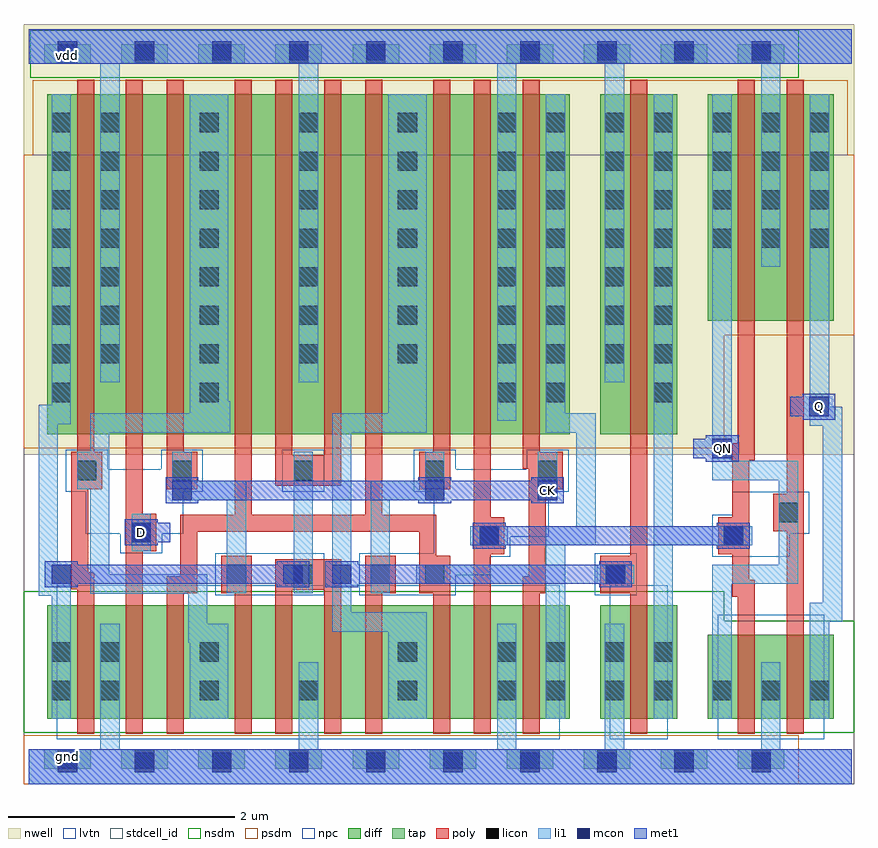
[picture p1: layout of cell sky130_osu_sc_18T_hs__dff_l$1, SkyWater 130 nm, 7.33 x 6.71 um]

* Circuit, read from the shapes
.subckt sky130_osu_sc_18T_hs__dff_l$1 CK D Q QN gnd vdd
XM1 gnd n1 n2 gnd sky130_fd_pr__nfet_01v8_lvt w=1 l=0.15
XM2 n3 D gnd gnd sky130_fd_pr__nfet_01v8_lvt w=1 l=0.15
XM3 n1 n4 n3 gnd sky130_fd_pr__nfet_01v8_lvt w=1 l=0.15
XM4 n5 CK n1 gnd sky130_fd_pr__nfet_01v8_lvt w=1 l=0.15
XM5 gnd n2 n5 gnd sky130_fd_pr__nfet_01v8_lvt w=1 l=0.15
XM6 n6 n2 gnd gnd sky130_fd_pr__nfet_01v8_lvt w=1 l=0.15
XM7 n7 CK n6 gnd sky130_fd_pr__nfet_01v8_lvt w=1 l=0.15
XM8 n8 n4 n7 gnd sky130_fd_pr__nfet_01v8_lvt w=1 l=0.15
XM9 gnd n9 n8 gnd sky130_fd_pr__nfet_01v8_lvt w=1 l=0.15
XM10 n4 CK gnd gnd sky130_fd_pr__nfet_01v8_lvt w=1 l=0.15
XM11 n9 n7 gnd gnd sky130_fd_pr__nfet_01v8_lvt w=1 l=0.15
XM12 gnd n9 QN gnd sky130_fd_pr__nfet_01v8_lvt w=0.74 l=0.15
XM13 Q QN gnd gnd sky130_fd_pr__nfet_01v8_lvt w=0.74 l=0.15
XM14 vdd n1 n2 vdd sky130_fd_pr__pfet_01v8 w=3 l=0.15
XM15 n10 D vdd vdd sky130_fd_pr__pfet_01v8 w=3 l=0.15
XM16 n1 CK n10 vdd sky130_fd_pr__pfet_01v8 w=3 l=0.15
XM17 n11 n4 n1 vdd sky130_fd_pr__pfet_01v8 w=3 l=0.15
XM18 vdd n2 n11 vdd sky130_fd_pr__pfet_01v8 w=3 l=0.15
XM19 n12 n2 vdd vdd sky130_fd_pr__pfet_01v8 w=3 l=0.15
XM20 n7 n4 n12 vdd sky130_fd_pr__pfet_01v8 w=3 l=0.15
XM21 n13 CK n7 vdd sky130_fd_pr__pfet_01v8 w=3 l=0.15
XM22 vdd n9 n13 vdd sky130_fd_pr__pfet_01v8 w=3 l=0.15
XM23 n4 CK vdd vdd sky130_fd_pr__pfet_01v8 w=3 l=0.15
XM24 n9 n7 vdd vdd sky130_fd_pr__pfet_01v8 w=3 l=0.15
XM25 vdd n9 QN vdd sky130_fd_pr__pfet_01v8 w=2 l=0.15
XM26 Q QN vdd vdd sky130_fd_pr__pfet_01v8 w=2 l=0.15
.ends

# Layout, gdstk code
import gdstk
lib = gdstk.Library(unit=1e-6, precision=1e-09)
def R(c, l, rs):  # rectangles x0, y0, x1, y1
    for r in rs: c.add(gdstk.rectangle(r[:2], r[2:], *l))
nwell = (64, 20)
diff = (65, 20)
tap = (65, 44)
poly = (66, 20)
licon = (66, 44)
li1 = (67, 20)
mcon = (67, 44)
met1 = (68, 20)
stdcell_id = (81, 4)
nsdm = (93, 44)
psdm = (94, 20)
npc = (95, 20)
lvtn = (125, 44)

sky130_osu_sc_18t_hs__df = lib.new_cell('sky130_osu_sc_18T_hs__dff_l$1')
R(sky130_osu_sc_18t_hs__df, nwell, [(-0.045,2.905,7.28,6.705), (-0.045,2.905,7.28,6.705)])
R(sky130_osu_sc_18t_hs__df, diff, [(0.16,0.575,4.77,1.575), (0.16,0.575,4.77,1.575), (5.04,0.575,5.72,1.575), (5.04,0.575,5.72,1.575), (5.99,0.575,7.1,1.315), (5.99,0.575,7.1,1.315), (0.16,3.085,4.77,6.085), (0.16,3.085,4.77,6.085), (5.04,3.085,5.72,6.085), (5.04,3.085,5.72,6.085), (5.99,4.085,7.1,6.085), (5.99,4.085,7.1,6.085)])
R(sky130_osu_sc_18t_hs__df, tap, [(0.135,0.135,0.545,0.305), (0.135,0.135,0.545,0.305), (0.815,0.135,1.225,0.305), (0.815,0.135,1.225,0.305), (1.495,0.135,1.905,0.305), (1.495,0.135,1.905,0.305), (2.175,0.135,2.585,0.305), (2.175,0.135,2.585,0.305), (2.855,0.135,3.265,0.305), (2.855,0.135,3.265,0.305), (3.535,0.135,3.945,0.305), (3.535,0.135,3.945,0.305), (4.215,0.135,4.625,0.305), (4.215,0.135,4.625,0.305), (4.895,0.135,5.305,0.305), (4.895,0.135,5.305,0.305), (5.575,0.135,5.985,0.305), (5.575,0.135,5.985,0.305), (6.255,0.135,6.665,0.305), (6.255,0.135,6.665,0.305), (0.135,6.355,0.545,6.525), (0.135,6.355,0.545,6.525), (0.815,6.355,1.225,6.525), (0.815,6.355,1.225,6.525), (1.495,6.355,1.905,6.525), (1.495,6.355,1.905,6.525), (2.175,6.355,2.585,6.525), (2.175,6.355,2.585,6.525), (2.855,6.355,3.265,6.525), (2.855,6.355,3.265,6.525), (3.535,6.355,3.945,6.525), (3.535,6.355,3.945,6.525), (4.215,6.355,4.625,6.525), (4.215,6.355,4.625,6.525), (4.895,6.355,5.305,6.525), (4.895,6.355,5.305,6.525), (5.575,6.355,5.985,6.525), (5.575,6.355,5.985,6.525), (6.255,6.355,6.665,6.525), (6.255,6.355,6.665,6.525)])
R(sky130_osu_sc_18t_hs__df, poly, [(0.425,0.445,0.575,1.72), (0.425,0.445,0.575,1.72), (0.855,0.445,1.005,2.055), (0.855,0.445,1.005,2.055), (1.215,0.445,1.365,1.685), (1.215,0.445,1.365,1.685), (1.815,0.445,1.965,1.685), (1.815,0.445,1.965,1.685), (2.175,0.445,2.325,1.715), (2.175,0.445,2.325,1.715), (2.605,0.445,2.755,1.715), (2.605,0.445,2.755,1.715), (2.965,0.445,3.115,1.685), (2.965,0.445,3.115,1.685), (3.565,0.445,3.715,1.685), (3.565,0.445,3.715,1.685), (3.925,0.445,4.075,2.025), (3.925,0.445,4.075,2.025), (4.355,0.445,4.505,1.685), (4.355,0.445,4.505,1.685), (5.305,0.445,5.455,1.685), (5.305,0.445,5.455,1.685), (6.255,0.445,6.405,1.65), (6.255,0.445,6.405,1.65), (6.685,0.445,6.835,2.23), (6.685,0.445,6.835,2.23), (6.205,1.65,6.405,1.8), (6.205,1.65,6.405,1.8), (1.215,1.685,1.485,1.835), (1.215,1.685,1.485,1.835), (1.695,1.685,1.965,2.015), (1.695,1.685,1.965,2.015), (2.965,1.685,3.235,2.015), (2.965,1.685,3.235,2.015), (3.445,1.685,3.715,2.015), (3.445,1.685,3.715,2.015), (4.355,1.685,4.56,1.835), (4.355,1.685,4.56,1.835), (5.04,1.685,5.455,2.015), (5.04,1.685,5.455,2.015), (2.175,1.715,2.755,1.985), (2.175,1.715,2.755,1.985), (0.375,1.72,0.575,1.87), (0.375,1.72,0.575,1.87), (6.205,1.8,6.355,2.025), (6.205,1.8,6.355,2.025), (1.335,1.835,1.485,2.225), (1.335,1.835,1.485,2.225), (4.41,1.835,4.56,2.6), (4.41,1.835,4.56,2.6), (0.375,1.87,0.525,2.6), (0.375,1.87,0.525,2.6), (3.445,2.015,3.595,2.225), (3.445,2.015,3.595,2.225), (5.305,2.015,5.455,6.215), (5.305,2.015,5.455,6.215), (3.925,2.025,4.195,2.355), (3.925,2.025,4.195,2.355), (6.08,2.025,6.355,2.355), (6.08,2.025,6.355,2.355), (0.855,2.055,1.125,2.385), (0.855,2.055,1.125,2.385), (1.335,2.225,3.595,2.375), (1.335,2.225,3.595,2.375), (6.565,2.23,6.835,2.56), (6.565,2.23,6.835,2.56), (3.925,2.355,4.075,6.215), (3.925,2.355,4.075,6.215), (6.205,2.355,6.355,2.855), (6.205,2.355,6.355,2.855), (1.815,2.375,1.965,6.215), (1.815,2.375,1.965,6.215), (2.965,2.375,3.115,6.215), (2.965,2.375,3.115,6.215), (0.855,2.385,1.005,6.215), (0.855,2.385,1.005,6.215), (6.685,2.56,6.835,6.215), (6.685,2.56,6.835,6.215), (0.375,2.6,0.645,2.93), (0.375,2.6,0.645,2.93), (1.215,2.6,1.485,2.93), (1.215,2.6,1.485,2.93), (3.445,2.6,3.715,2.93), (3.445,2.6,3.715,2.93), (4.41,2.6,4.71,2.78), (4.41,2.6,4.71,2.78), (2.175,2.63,2.755,2.9), (2.175,2.63,2.755,2.9), (4.355,2.78,4.71,2.93), (4.355,2.78,4.71,2.93), (6.205,2.855,6.405,3.005), (6.205,2.855,6.405,3.005), (2.175,2.9,2.325,6.215), (2.175,2.9,2.325,6.215), (2.605,2.9,2.755,6.215), (2.605,2.9,2.755,6.215), (0.425,2.93,0.575,6.215), (0.425,2.93,0.575,6.215), (1.215,2.93,1.365,6.215), (1.215,2.93,1.365,6.215), (3.565,2.93,3.715,6.215), (3.565,2.93,3.715,6.215), (4.355,2.93,4.505,6.215), (4.355,2.93,4.505,6.215), (6.255,3.005,6.405,6.215), (6.255,3.005,6.405,6.215)])
R(sky130_osu_sc_18t_hs__df, licon, [(0.255,0.135,0.425,0.305), (0.255,0.135,0.425,0.305), (0.935,0.135,1.105,0.305), (0.935,0.135,1.105,0.305), (1.615,0.135,1.785,0.305), (1.615,0.135,1.785,0.305), (2.295,0.135,2.465,0.305), (2.295,0.135,2.465,0.305), (2.975,0.135,3.145,0.305), (2.975,0.135,3.145,0.305), (3.655,0.135,3.825,0.305), (3.655,0.135,3.825,0.305), (4.335,0.135,4.505,0.305), (4.335,0.135,4.505,0.305), (5.015,0.135,5.185,0.305), (5.015,0.135,5.185,0.305), (5.695,0.135,5.865,0.305), (5.695,0.135,5.865,0.305), (6.375,0.135,6.545,0.305), (6.375,0.135,6.545,0.305), (0.2,0.74,0.37,0.91), (0.2,0.74,0.37,0.91), (0.63,0.74,0.8,0.91), (0.63,0.74,0.8,0.91), (1.505,0.74,1.675,0.91), (1.505,0.74,1.675,0.91), (2.38,0.74,2.55,0.91), (2.38,0.74,2.55,0.91), (3.255,0.74,3.425,0.91), (3.255,0.74,3.425,0.91), (4.13,0.74,4.3,0.91), (4.13,0.74,4.3,0.91), (4.56,0.74,4.73,0.91), (4.56,0.74,4.73,0.91), (5.08,0.74,5.25,0.91), (5.08,0.74,5.25,0.91), (5.51,0.74,5.68,0.91), (5.51,0.74,5.68,0.91), (6.03,0.74,6.2,0.91), (6.03,0.74,6.2,0.91), (6.46,0.74,6.63,0.91), (6.46,0.74,6.63,0.91), (6.89,0.74,7.06,0.91), (6.89,0.74,7.06,0.91), (0.2,1.08,0.37,1.25), (0.2,1.08,0.37,1.25), (0.63,1.08,0.8,1.25), (0.63,1.08,0.8,1.25), (1.505,1.08,1.675,1.25), (1.505,1.08,1.675,1.25), (3.255,1.08,3.425,1.25), (3.255,1.08,3.425,1.25), (4.13,1.08,4.3,1.25), (4.13,1.08,4.3,1.25), (4.56,1.08,4.73,1.25), (4.56,1.08,4.73,1.25), (5.08,1.08,5.25,1.25), (5.08,1.08,5.25,1.25), (5.51,1.08,5.68,1.25), (5.51,1.08,5.68,1.25), (1.745,1.765,1.915,1.935), (1.745,1.765,1.915,1.935), (2.335,1.765,2.505,1.935), (2.335,1.765,2.505,1.935), (3.015,1.765,3.185,1.935), (3.015,1.765,3.185,1.935), (3.495,1.765,3.665,1.935), (3.495,1.765,3.665,1.935), (5.09,1.765,5.26,1.935), (5.09,1.765,5.26,1.935), (3.975,2.105,4.145,2.275), (3.975,2.105,4.145,2.275), (6.13,2.105,6.3,2.275), (6.13,2.105,6.3,2.275), (0.905,2.135,1.075,2.305), (0.905,2.135,1.075,2.305), (6.615,2.31,6.785,2.48), (6.615,2.31,6.785,2.48), (0.425,2.68,0.595,2.85), (0.425,2.68,0.595,2.85), (1.265,2.68,1.435,2.85), (1.265,2.68,1.435,2.85), (2.335,2.68,2.505,2.85), (2.335,2.68,2.505,2.85), (3.495,2.68,3.665,2.85), (3.495,2.68,3.665,2.85), (4.49,2.68,4.66,2.85), (4.49,2.68,4.66,2.85), (0.2,3.37,0.37,3.54), (0.2,3.37,0.37,3.54), (1.505,3.37,1.675,3.54), (1.505,3.37,1.675,3.54), (4.13,3.37,4.3,3.54), (4.13,3.37,4.3,3.54), (4.56,3.37,4.73,3.54), (4.56,3.37,4.73,3.54), (5.51,3.37,5.68,3.54), (5.51,3.37,5.68,3.54), (0.2,3.71,0.37,3.88), (0.2,3.71,0.37,3.88), (0.63,3.71,0.8,3.88), (0.63,3.71,0.8,3.88), (1.505,3.71,1.675,3.88), (1.505,3.71,1.675,3.88), (2.38,3.71,2.55,3.88), (2.38,3.71,2.55,3.88), (3.255,3.71,3.425,3.88), (3.255,3.71,3.425,3.88), (4.13,3.71,4.3,3.88), (4.13,3.71,4.3,3.88), (4.56,3.71,4.73,3.88), (4.56,3.71,4.73,3.88), (5.08,3.71,5.25,3.88), (5.08,3.71,5.25,3.88), (5.51,3.71,5.68,3.88), (5.51,3.71,5.68,3.88), (0.2,4.05,0.37,4.22), (0.2,4.05,0.37,4.22), (0.63,4.05,0.8,4.22), (0.63,4.05,0.8,4.22), (1.505,4.05,1.675,4.22), (1.505,4.05,1.675,4.22), (2.38,4.05,2.55,4.22), (2.38,4.05,2.55,4.22), (3.255,4.05,3.425,4.22), (3.255,4.05,3.425,4.22), (4.13,4.05,4.3,4.22), (4.13,4.05,4.3,4.22), (4.56,4.05,4.73,4.22), (4.56,4.05,4.73,4.22), (5.08,4.05,5.25,4.22), (5.08,4.05,5.25,4.22), (5.51,4.05,5.68,4.22), (5.51,4.05,5.68,4.22), (0.2,4.39,0.37,4.56), (0.2,4.39,0.37,4.56), (0.63,4.39,0.8,4.56), (0.63,4.39,0.8,4.56), (1.505,4.39,1.675,4.56), (1.505,4.39,1.675,4.56), (2.38,4.39,2.55,4.56), (2.38,4.39,2.55,4.56), (3.255,4.39,3.425,4.56), (3.255,4.39,3.425,4.56), (4.13,4.39,4.3,4.56), (4.13,4.39,4.3,4.56), (4.56,4.39,4.73,4.56), (4.56,4.39,4.73,4.56), (5.08,4.39,5.25,4.56), (5.08,4.39,5.25,4.56), (5.51,4.39,5.68,4.56), (5.51,4.39,5.68,4.56), (0.2,4.73,0.37,4.9), (0.2,4.73,0.37,4.9), (0.63,4.73,0.8,4.9), (0.63,4.73,0.8,4.9), (1.505,4.73,1.675,4.9), (1.505,4.73,1.675,4.9), (2.38,4.73,2.55,4.9), (2.38,4.73,2.55,4.9), (3.255,4.73,3.425,4.9), (3.255,4.73,3.425,4.9), (4.13,4.73,4.3,4.9), (4.13,4.73,4.3,4.9), (4.56,4.73,4.73,4.9), (4.56,4.73,4.73,4.9), (5.08,4.73,5.25,4.9), (5.08,4.73,5.25,4.9), (5.51,4.73,5.68,4.9), (5.51,4.73,5.68,4.9), (6.03,4.73,6.2,4.9), (6.03,4.73,6.2,4.9), (6.46,4.73,6.63,4.9), (6.46,4.73,6.63,4.9), (6.89,4.73,7.06,4.9), (6.89,4.73,7.06,4.9), (0.2,5.07,0.37,5.24), (0.2,5.07,0.37,5.24), (0.63,5.07,0.8,5.24), (0.63,5.07,0.8,5.24), (1.505,5.07,1.675,5.24), (1.505,5.07,1.675,5.24), (2.38,5.07,2.55,5.24), (2.38,5.07,2.55,5.24), (3.255,5.07,3.425,5.24), (3.255,5.07,3.425,5.24), (4.13,5.07,4.3,5.24), (4.13,5.07,4.3,5.24), (4.56,5.07,4.73,5.24), (4.56,5.07,4.73,5.24), (5.08,5.07,5.25,5.24), (5.08,5.07,5.25,5.24), (5.51,5.07,5.68,5.24), (5.51,5.07,5.68,5.24), (6.03,5.07,6.2,5.24), (6.03,5.07,6.2,5.24), (6.46,5.07,6.63,5.24), (6.46,5.07,6.63,5.24), (6.89,5.07,7.06,5.24), (6.89,5.07,7.06,5.24), (0.2,5.41,0.37,5.58), (0.2,5.41,0.37,5.58), (0.63,5.41,0.8,5.58), (0.63,5.41,0.8,5.58), (1.505,5.41,1.675,5.58), (1.505,5.41,1.675,5.58), (2.38,5.41,2.55,5.58), (2.38,5.41,2.55,5.58), (3.255,5.41,3.425,5.58), (3.255,5.41,3.425,5.58), (4.13,5.41,4.3,5.58), (4.13,5.41,4.3,5.58), (4.56,5.41,4.73,5.58), (4.56,5.41,4.73,5.58), (5.08,5.41,5.25,5.58), (5.08,5.41,5.25,5.58), (5.51,5.41,5.68,5.58), (5.51,5.41,5.68,5.58), (6.03,5.41,6.2,5.58), (6.03,5.41,6.2,5.58), (6.46,5.41,6.63,5.58), (6.46,5.41,6.63,5.58), (6.89,5.41,7.06,5.58), (6.89,5.41,7.06,5.58), (0.2,5.75,0.37,5.92), (0.2,5.75,0.37,5.92), (0.63,5.75,0.8,5.92), (0.63,5.75,0.8,5.92), (1.505,5.75,1.675,5.92), (1.505,5.75,1.675,5.92), (2.38,5.75,2.55,5.92), (2.38,5.75,2.55,5.92), (3.255,5.75,3.425,5.92), (3.255,5.75,3.425,5.92), (4.13,5.75,4.3,5.92), (4.13,5.75,4.3,5.92), (4.56,5.75,4.73,5.92), (4.56,5.75,4.73,5.92), (5.08,5.75,5.25,5.92), (5.08,5.75,5.25,5.92), (5.51,5.75,5.68,5.92), (5.51,5.75,5.68,5.92), (6.03,5.75,6.2,5.92), (6.03,5.75,6.2,5.92), (6.46,5.75,6.63,5.92), (6.46,5.75,6.63,5.92), (6.89,5.75,7.06,5.92), (6.89,5.75,7.06,5.92), (0.255,6.355,0.425,6.525), (0.255,6.355,0.425,6.525), (0.935,6.355,1.105,6.525), (0.935,6.355,1.105,6.525), (1.615,6.355,1.785,6.525), (1.615,6.355,1.785,6.525), (2.295,6.355,2.465,6.525), (2.295,6.355,2.465,6.525), (2.975,6.355,3.145,6.525), (2.975,6.355,3.145,6.525), (3.655,6.355,3.825,6.525), (3.655,6.355,3.825,6.525), (4.335,6.355,4.505,6.525), (4.335,6.355,4.505,6.525), (5.015,6.355,5.185,6.525), (5.015,6.355,5.185,6.525), (5.695,6.355,5.865,6.525), (5.695,6.355,5.865,6.525), (6.375,6.355,6.545,6.525), (6.375,6.355,6.545,6.525)])
R(sky130_osu_sc_18t_hs__df, li1, [(0,0,7.26,0.305), (0,0,7.26,0.305), (0.63,0.305,0.8,1.415), (0.63,0.305,0.8,1.415), (2.38,0.305,2.55,1.075), (2.38,0.305,2.55,1.075), (4.13,0.305,4.3,1.415), (4.13,0.305,4.3,1.415), (5.08,0.305,5.25,1.415), (5.08,0.305,5.25,1.415), (6.46,0.305,6.63,1.075), (6.46,0.305,6.63,1.075), (0.2,0.575,0.37,1.66), (0.2,0.575,0.37,1.66), (1.42,0.575,1.76,1.245), (1.42,0.575,1.76,1.245), (3.17,0.575,3.51,1.345), (3.17,0.575,3.51,1.345), (4.56,0.575,4.73,1.765), (4.56,0.575,4.73,1.765), (5.51,0.575,5.68,2.105), (5.51,0.575,5.68,2.105), (6.03,0.575,6.2,1.765), (6.03,0.575,6.2,1.765), (6.89,0.575,7.06,1.43), (6.89,0.575,7.06,1.43), (1.405,1.245,1.76,1.415), (1.405,1.245,1.76,1.415), (2.675,1.345,3.51,1.515), (2.675,1.345,3.51,1.515), (1.405,1.415,1.575,1.68), (1.405,1.415,1.575,1.68), (6.89,1.43,7.175,1.6), (6.89,1.43,7.175,1.6), (2.675,1.515,2.845,3.1), (2.675,1.515,2.845,3.1), (7.005,1.6,7.175,3.16), (7.005,1.6,7.175,3.16), (0.085,1.66,0.37,1.935), (0.085,1.66,0.37,1.935), (0.54,1.68,1.575,1.85), (0.54,1.68,1.575,1.85), (1.745,1.685,1.915,2.505), (1.745,1.685,1.915,2.505), (2.335,1.685,2.505,1.765), (2.335,1.685,2.505,1.765), (3.015,1.685,3.185,2.505), (3.015,1.685,3.185,2.505), (2.245,1.765,2.505,1.935), (2.245,1.765,2.505,1.935), (3.415,1.765,4.73,1.935), (3.415,1.765,4.73,1.935), (5.01,1.765,5.34,1.935), (5.01,1.765,5.34,1.935), (6.03,1.765,6.785,1.935), (6.03,1.765,6.785,1.935), (0.54,1.85,0.71,2.6), (0.54,1.85,0.71,2.6), (0.085,1.935,0.255,3.175), (0.085,1.935,0.255,3.175), (2.335,1.935,2.505,2.93), (2.335,1.935,2.505,2.93), (4.56,1.935,4.73,2.105), (4.56,1.935,4.73,2.105), (6.615,1.935,6.785,2.68), (6.615,1.935,6.785,2.68), (0.905,2.055,1.075,2.385), (0.905,2.055,1.075,2.385), (3.895,2.105,4.225,2.275), (3.895,2.105,4.225,2.275), (4.56,2.105,5,2.275), (4.56,2.105,5,2.275), (5.51,2.105,6.38,2.275), (5.51,2.105,6.38,2.275), (4.83,2.275,5,3.1), (4.83,2.275,5,3.1), (5.51,2.275,5.68,6.085), (5.51,2.275,5.68,6.085), (1.265,2.505,1.915,2.675), (1.265,2.505,1.915,2.675), (3.015,2.505,3.665,2.675), (3.015,2.505,3.665,2.675), (4.49,2.505,4.66,2.93), (4.49,2.505,4.66,2.93), (0.425,2.6,0.71,2.93), (0.425,2.6,0.71,2.93), (1.265,2.675,1.435,2.93), (1.265,2.675,1.435,2.93), (3.495,2.675,3.665,2.93), (3.495,2.675,3.665,2.93), (6.03,2.68,6.785,2.85), (6.03,2.68,6.785,2.85), (6.03,2.85,6.2,6.085), (6.03,2.85,6.2,6.085), (0.54,2.93,0.71,3.1), (0.54,2.93,0.71,3.1), (0.54,3.1,1.775,3.27), (0.54,3.1,1.775,3.27), (2.675,3.1,3.51,3.27), (2.675,3.1,3.51,3.27), (4.56,3.1,5,3.27), (4.56,3.1,5,3.27), (6.89,3.16,7.175,3.245), (6.89,3.16,7.175,3.245), (0.085,3.175,0.37,3.345), (0.085,3.175,0.37,3.345), (4.13,3.205,4.3,6.355), (4.13,3.205,4.3,6.355), (6.885,3.245,7.175,3.33), (6.885,3.245,7.175,3.33), (1.42,3.27,1.775,3.375), (1.42,3.27,1.775,3.375), (3.17,3.27,3.51,6.085), (3.17,3.27,3.51,6.085), (4.56,3.27,4.73,6.085), (4.56,3.27,4.73,6.085), (6.885,3.33,7.06,3.415), (6.885,3.33,7.06,3.415), (0.2,3.345,0.37,6.085), (0.2,3.345,0.37,6.085), (1.42,3.375,1.76,6.085), (1.42,3.375,1.76,6.085), (6.89,3.415,7.06,6.085), (6.89,3.415,7.06,6.085), (0.63,3.545,0.8,6.355), (0.63,3.545,0.8,6.355), (2.38,3.545,2.55,6.355), (2.38,3.545,2.55,6.355), (5.08,3.545,5.25,6.355), (5.08,3.545,5.25,6.355), (6.46,4.565,6.63,6.355), (6.46,4.565,6.63,6.355), (0,6.355,7.26,6.66), (0,6.355,7.26,6.66)])
R(sky130_osu_sc_18t_hs__df, mcon, [(0.255,0.105,0.425,0.275), (0.255,0.105,0.425,0.275), (0.935,0.105,1.105,0.275), (0.935,0.105,1.105,0.275), (1.615,0.105,1.785,0.275), (1.615,0.105,1.785,0.275), (2.295,0.105,2.465,0.275), (2.295,0.105,2.465,0.275), (2.975,0.105,3.145,0.275), (2.975,0.105,3.145,0.275), (3.655,0.105,3.825,0.275), (3.655,0.105,3.825,0.275), (4.335,0.105,4.505,0.275), (4.335,0.105,4.505,0.275), (5.015,0.105,5.185,0.275), (5.015,0.105,5.185,0.275), (5.695,0.105,5.865,0.275), (5.695,0.105,5.865,0.275), (6.375,0.105,6.545,0.275), (6.375,0.105,6.545,0.275), (0.2,1.765,0.37,1.935), (0.2,1.765,0.37,1.935), (2.245,1.765,2.415,1.935), (2.245,1.765,2.415,1.935), (2.675,1.765,2.845,1.935), (2.675,1.765,2.845,1.935), (5.09,1.765,5.26,1.935), (5.09,1.765,5.26,1.935), (3.975,2.105,4.145,2.275), (3.975,2.105,4.145,2.275), (6.13,2.105,6.3,2.275), (6.13,2.105,6.3,2.275), (0.905,2.135,1.075,2.305), (0.905,2.135,1.075,2.305), (1.265,2.505,1.435,2.675), (1.265,2.505,1.435,2.675), (3.495,2.505,3.665,2.675), (3.495,2.505,3.665,2.675), (4.49,2.505,4.66,2.675), (4.49,2.505,4.66,2.675), (6.03,2.875,6.2,3.045), (6.03,2.875,6.2,3.045), (6.885,3.245,7.055,3.415), (6.885,3.245,7.055,3.415), (0.255,6.385,0.425,6.555), (0.255,6.385,0.425,6.555), (0.935,6.385,1.105,6.555), (0.935,6.385,1.105,6.555), (1.615,6.385,1.785,6.555), (1.615,6.385,1.785,6.555), (2.295,6.385,2.465,6.555), (2.295,6.385,2.465,6.555), (2.975,6.385,3.145,6.555), (2.975,6.385,3.145,6.555), (3.655,6.385,3.825,6.555), (3.655,6.385,3.825,6.555), (4.335,6.385,4.505,6.555), (4.335,6.385,4.505,6.555), (5.015,6.385,5.185,6.555), (5.015,6.385,5.185,6.555), (5.695,6.385,5.865,6.555), (5.695,6.385,5.865,6.555), (6.375,6.385,6.545,6.555), (6.375,6.385,6.545,6.555)])
R(sky130_osu_sc_18t_hs__df, met1, [(0,0,7.26,0.305), (0,0,7.26,0.305), (0.14,1.735,0.43,1.765), (0.14,1.735,0.43,1.765), (2.185,1.735,2.475,1.765), (2.185,1.735,2.475,1.765), (2.615,1.735,2.905,1.765), (2.615,1.735,2.905,1.765), (5.03,1.735,5.32,1.765), (5.03,1.735,5.32,1.765), (0.14,1.765,2.475,1.935), (0.14,1.765,2.475,1.935), (2.615,1.765,5.32,1.935), (2.615,1.765,5.32,1.935), (0.14,1.935,0.43,1.965), (0.14,1.935,0.43,1.965), (2.185,1.935,2.475,1.965), (2.185,1.935,2.475,1.965), (2.615,1.935,2.905,1.965), (2.615,1.935,2.905,1.965), (5.03,1.935,5.32,1.965), (5.03,1.935,5.32,1.965), (3.915,2.075,4.205,2.105), (3.915,2.075,4.205,2.105), (6.07,2.075,6.36,2.105), (6.07,2.075,6.36,2.105), (0.845,2.105,1.135,2.135), (0.845,2.105,1.135,2.135), (3.915,2.105,6.36,2.275), (3.915,2.105,6.36,2.275), (0.845,2.135,1.245,2.305), (0.845,2.135,1.245,2.305), (3.915,2.275,4.205,2.305), (3.915,2.275,4.205,2.305), (6.07,2.275,6.36,2.305), (6.07,2.275,6.36,2.305), (0.845,2.305,1.135,2.335), (0.845,2.305,1.135,2.335), (1.205,2.475,1.495,2.505), (1.205,2.475,1.495,2.505), (3.435,2.475,3.725,2.505), (3.435,2.475,3.725,2.505), (4.43,2.475,4.72,2.505), (4.43,2.475,4.72,2.505), (1.205,2.505,4.72,2.675), (1.205,2.505,4.72,2.675), (1.205,2.675,1.495,2.705), (1.205,2.675,1.495,2.705), (3.435,2.675,3.725,2.705), (3.435,2.675,3.725,2.705), (4.43,2.675,4.72,2.705), (4.43,2.675,4.72,2.705), (5.97,2.845,6.26,2.875), (5.97,2.845,6.26,2.875), (5.86,2.875,6.26,3.045), (5.86,2.875,6.26,3.045), (5.97,3.045,6.26,3.075), (5.97,3.045,6.26,3.075), (6.825,3.215,7.115,3.245), (6.825,3.215,7.115,3.245), (6.715,3.245,7.115,3.415), (6.715,3.245,7.115,3.415), (6.825,3.415,7.115,3.445), (6.825,3.415,7.115,3.445), (0,6.355,7.26,6.66), (0,6.355,7.26,6.66)])
R(sky130_osu_sc_18t_hs__df, stdcell_id, [(-0.045,0,7.28,5.55), (-0.045,0,7.28,5.55)])
R(sky130_osu_sc_18t_hs__df, nsdm, [(-0.045,0.45,7.28,1.44), (-0.045,0.45,7.28,1.44), (-0.045,1.44,6.135,1.7), (-0.045,1.44,6.135,1.7), (0.01,6.23,6.79,6.65), (0.01,6.23,6.79,6.65)])
R(sky130_osu_sc_18t_hs__df, psdm, [(-0.045,0,6.79,0.43), (-0.045,0,6.79,0.43), (-0.045,2.96,6.135,3.96), (-0.045,2.96,6.135,3.96), (-0.045,3.96,7.28,5.55), (-0.045,3.96,7.28,5.55), (0.035,5.55,7.225,6.21), (0.035,5.55,7.225,6.21)])
R(sky130_osu_sc_18t_hs__df, npc, [(1.645,1.665,2.605,2.035), (1.645,1.665,2.605,2.035), (2.915,1.665,3.765,1.84), (2.915,1.665,3.765,1.84), (4.99,1.665,5.36,2.035), (4.99,1.665,5.36,2.035), (2.915,1.84,4.07,2.005), (2.915,1.84,4.07,2.005), (2.915,2.005,4.245,2.035), (2.915,2.005,4.245,2.035), (6.03,2.005,6.71,2.21), (6.03,2.005,6.71,2.21), (0.805,2.035,1.175,2.21), (0.805,2.035,1.175,2.21), (3.57,2.035,4.245,2.18), (3.57,2.035,4.245,2.18), (3.57,2.18,4.585,2.58), (3.57,2.18,4.585,2.58), (0.5,2.21,1.36,2.58), (0.5,2.21,1.36,2.58), (6.03,2.21,6.885,2.375), (6.03,2.21,6.885,2.375), (6.205,2.375,6.885,2.58), (6.205,2.375,6.885,2.58), (0.325,2.58,1.535,2.775), (0.325,2.58,1.535,2.775), (2.235,2.58,2.605,2.95), (2.235,2.58,2.605,2.95), (3.395,2.58,4.76,2.775), (3.395,2.58,4.76,2.775), (0.325,2.775,0.695,2.95), (0.325,2.775,0.695,2.95), (1.165,2.775,1.535,2.95), (1.165,2.775,1.535,2.95), (3.395,2.775,3.765,2.95), (3.395,2.775,3.765,2.95), (4.39,2.775,4.76,2.95), (4.39,2.775,4.76,2.95)])
R(sky130_osu_sc_18t_hs__df, lvtn, [(0.245,0.395,4.685,1.755), (0.245,0.395,4.685,1.755), (5.125,0.395,5.635,1.755), (5.125,0.395,5.635,1.755), (6.075,0.395,7.015,1.495), (6.075,0.395,7.015,1.495)])
sky130_osu_sc_18t_hs__df.add(gdstk.Label('gnd', (0.34,0.245), layer=68, texttype=16))
sky130_osu_sc_18t_hs__df.add(gdstk.Label('vdd', (0.34,6.425), layer=68, texttype=16))
sky130_osu_sc_18t_hs__df.add(gdstk.Label('gnd', (0.34,0.245), layer=68, texttype=16))
sky130_osu_sc_18t_hs__df.add(gdstk.Label('vdd', (0.34,6.425), layer=68, texttype=16))
sky130_osu_sc_18t_hs__df.add(gdstk.Label('D', (0.99,2.22), layer=68, texttype=5))
sky130_osu_sc_18t_hs__df.add(gdstk.Label('Q', (6.97,3.33), layer=68, texttype=5))
sky130_osu_sc_18t_hs__df.add(gdstk.Label('QN', (6.12,2.96), layer=68, texttype=5))
sky130_osu_sc_18t_hs__df.add(gdstk.Label('CK', (4.575,2.59), layer=68, texttype=5))
sky130_osu_sc_18t_hs__df.add(gdstk.Label('D', (0.99,2.22), layer=68, texttype=5))
sky130_osu_sc_18t_hs__df.add(gdstk.Label('Q', (6.97,3.33), layer=68, texttype=5))
sky130_osu_sc_18t_hs__df.add(gdstk.Label('QN', (6.12,2.96), layer=68, texttype=5))
sky130_osu_sc_18t_hs__df.add(gdstk.Label('CK', (4.575,2.59), layer=68, texttype=5))

lib.write_gds('sky130_osu_sc_18T_hs__dff_l_1.gds')
